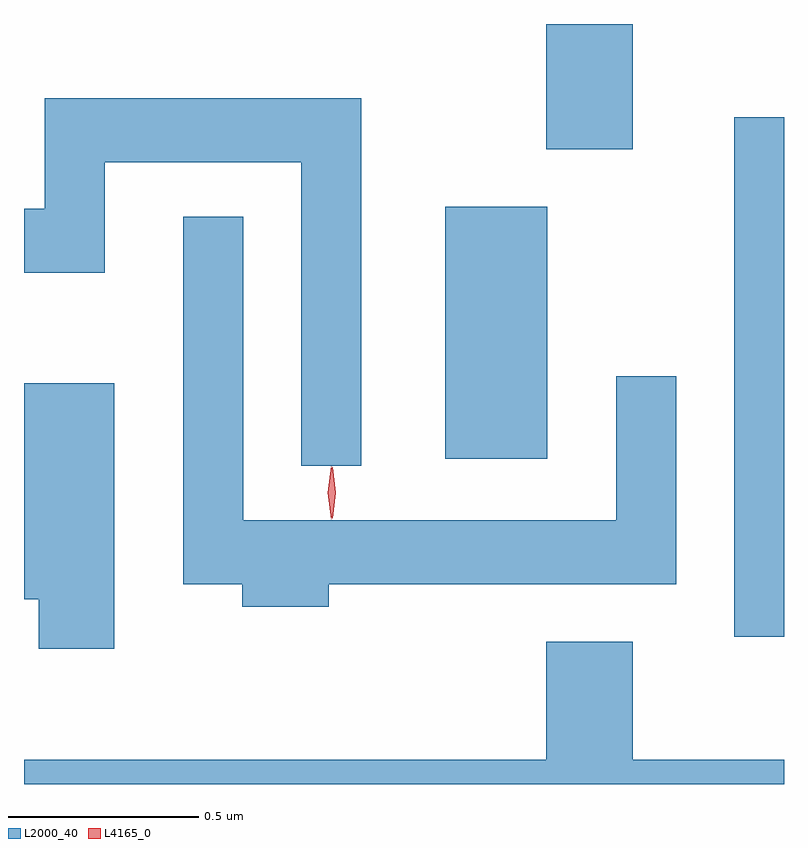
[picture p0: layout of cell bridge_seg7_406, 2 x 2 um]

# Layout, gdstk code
import gdstk
lib = gdstk.Library(unit=1e-6, precision=1e-09)
def R(c, l, rs):  # rectangles x0, y0, x1, y1
    for r in rs: c.add(gdstk.rectangle(r[:2], r[2:], *l))
def P(c, l, *ps):  # polygons
    for p in ps: c.add(gdstk.Polygon(p, *l))
L2000_40 = (2000, 40)
L4165_0 = (4165, 0)

bridge_seg7_406 = lib.new_cell('bridge_seg7_406')
R(bridge_seg7_406, L2000_40, [(1149.526,1752.648,1149.657,1754.014), (1148.766,1753.116,1149.034,1753.779), (1149.031,1753.931,1149.259,1754.26)])
P(bridge_seg7_406, L2000_40, [(1148.544,1754.064),(1147.711,1754.064),(1147.711,1753.774),(1147.657,1753.774),(1147.657,1753.606),(1147.869,1753.606),(1147.869,1753.896),(1148.386,1753.896),(1148.386,1753.098),(1148.544,1753.098)],
  [(1148.459,1752.786),(1149.374,1752.786),(1149.374,1753.333),(1149.216,1753.333),(1149.216,1752.954),(1148.234,1752.954),(1148.234,1753.753),(1148.076,1753.753),(1148.076,1752.786),(1148.231,1752.786),(1148.231,1752.726),(1148.459,1752.726)],
  [(1147.894,1753.314),(1147.657,1753.314),(1147.657,1752.746),(1147.696,1752.746),(1147.696,1752.616),(1147.894,1752.616)],
  [(1149.657,1752.324),(1149.259,1752.324),(1149.259,1752.634),(1149.031,1752.634),(1149.031,1752.324),(1147.657,1752.324),(1147.657,1752.26),(1149.657,1752.26)])
P(bridge_seg7_406, L4165_0, [(1148.465,1752.957),(1148.456,1753.027),(1148.465,1753.096),(1148.466,1753.096),(1148.466,1753.096),(1148.476,1753.027),(1148.466,1752.957),(1148.466,1752.957)],
  [(1148.468,1752.959),(1148.468,1752.96),(1148.458,1753.026),(1148.468,1753.093),(1148.468,1753.093),(1148.469,1753.093),(1148.478,1753.026),(1148.469,1752.96)])

lib.write_gds('bridge_seg7_406.gds')
